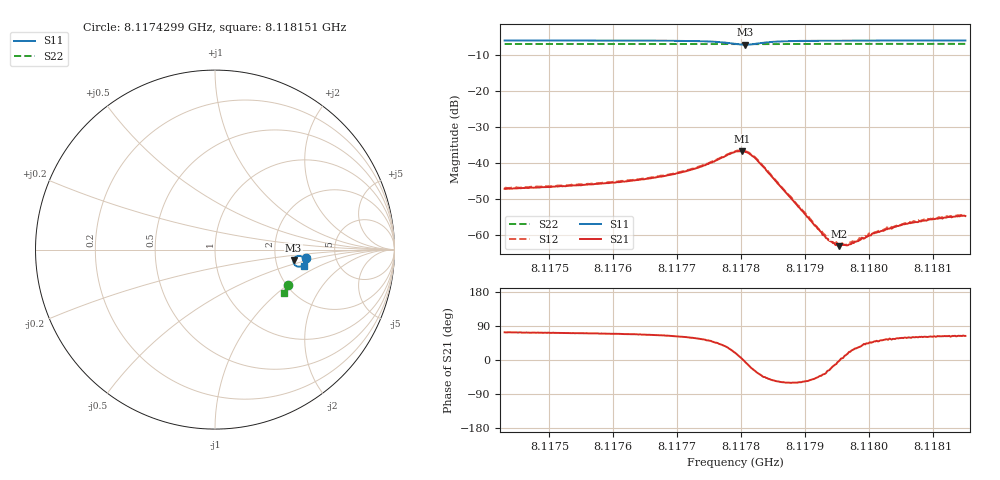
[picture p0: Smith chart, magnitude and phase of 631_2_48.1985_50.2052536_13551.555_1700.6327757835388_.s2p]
#  HZ  S  RI  R  50.00
! Rohde & Schwarz Vector Network Analyzer
! Rohde-Schwarz,ZNB20-2Port,1311601062101988,3.16
! Created: UTC 3/20/2024, 12:04:19 PM
! freq[Hz]  re:S11  im:S11  re:S21  im:S21  re:S12  im:S12  re:S22  im:S22
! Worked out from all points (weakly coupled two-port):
!   401 points, 8.1174299 GHz to 8.118151 GHz, reference 50 ohm
!   highest |S21| = -36.69 dB at 8.1178013 GHz (marker M1); lowest = -63.1 dB at 8.1179527 GHz (marker M2)
!   lowest |S11| = -7.1 dB at 8.1178067 GHz (marker M3), VSWR 2.58, Z = 126 - j18.7 ohm
!   |S11| at or under -10 dB: nowhere
!   |S22| runs from -6.9 to -6.8 dB; largest |S21 - S12| = 0.00051
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8.11742995e9  0.5046 -0.0485  0.00127 0.00419  0.00136 0.00427  0.4075 -0.1967
8.11755073e9  0.5026 -0.0601  0.00164 0.00466  0.00169 0.00479  0.4039 -0.2045
8.11762104e9  0.5006 -0.0682  0.00206 0.00517  0.00212 0.00528  0.4017 -0.2092
8.11767152e9  0.4978 -0.0752  0.00268 0.00588  0.00281 0.0059  0.4001 -0.2123
8.1177292e9  0.4896 -0.0869  0.00455 0.00711  0.00467 0.00725  0.3978 -0.2162
8.1177905e9  0.4462 -0.0867  0.0136 0.00477  0.0137 0.00483  0.3942 -0.2195
8.11780131e9  0.4376 -0.0703  0.0146 0.000826  0.015 0.000867  0.3937 -0.2193
8.11780672e9  0.4376 -0.0598  0.0142 -0.00143  0.0146 -0.00142  0.3936 -0.2191
8.11781574e9  0.4449 -0.0449  0.0121 -0.00461  0.0125 -0.00467  0.394 -0.2189
8.11782475e9  0.457 -0.0363  0.00932 -0.00608  0.00948 -0.00617  0.3942 -0.2193
8.1178572e9  0.4877 -0.0417  0.00287 -0.00434  0.00296 -0.0045  0.3947 -0.2219
8.11791128e9  0.4986 -0.059  0.000943 -0.00116  0.000908 -0.00125  0.3932 -0.2259
8.11793111e9  0.4995 -0.0633  0.000775 -0.000577  0.00082 -0.000584  0.3926 -0.2273
8.11794013e9  0.4998 -0.065  0.000752 -0.000316  0.000763 -0.000298  0.3924 -0.2281
8.11795274e9  0.4999 -0.0671  0.000697 -4.38e-05  0.000734 -4.53e-05  0.3918 -0.2288
8.11795996e9  0.5001 -0.0683  0.000723 7.39e-05  0.000728 0.000141  0.3916 -0.2293
8.11796897e9  0.5001 -0.0697  0.000686 0.000271  0.000747 0.000196  0.3915 -0.2298
8.11800863e9  0.5001 -0.0751  0.000691 0.000801  0.000701 0.000833  0.39 -0.2325
8.11803207e9  0.4998 -0.0777  0.000675 0.00102  0.000703 0.00102  0.3892 -0.234
8.11806091e9  0.4996 -0.081  0.000732 0.00124  0.000748 0.00128  0.3883 -0.2357
8.11809696e9  0.4992 -0.0847  0.000768 0.00146  0.00079 0.00149  0.387 -0.238
8.11815105e9  0.4984 -0.0898  0.000816 0.00164  0.000868 0.00171  0.3851 -0.2413
